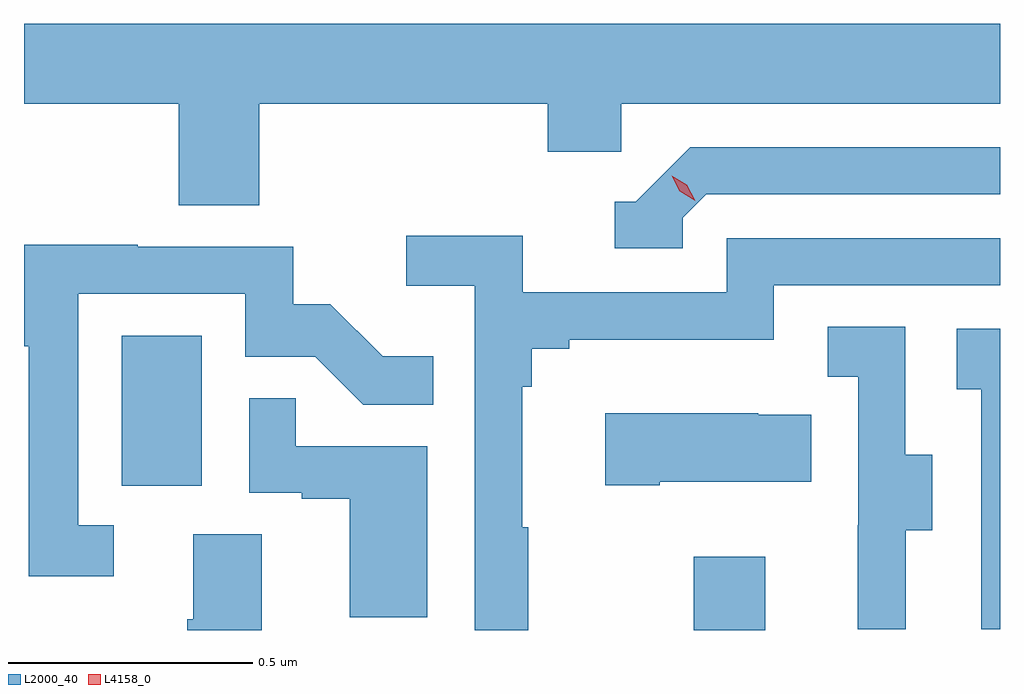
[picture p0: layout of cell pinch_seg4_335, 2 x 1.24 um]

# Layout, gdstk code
import gdstk
lib = gdstk.Library(unit=1e-6, precision=1e-09)
def R(c, l, rs):  # rectangles x0, y0, x1, y1
    for r in rs: c.add(gdstk.rectangle(r[:2], r[2:], *l))
def P(c, l, *ps):  # polygons
    for p in ps: c.add(gdstk.Polygon(p, *l))
L2000_40 = (2000, 40)
L4158_0 = (4158, 0)

pinch_seg4_335 = lib.new_cell('pinch_seg4_335')
R(pinch_seg4_335, L2000_40, [(987.448,806.398,987.595,806.548), (986.276,806.694,986.44,807.001)])
P(pinch_seg4_335, L2000_40, [(986.558,807.476),(987.149,807.476),(987.149,807.378),(987.3,807.378),(987.3,807.476),(988.076,807.476),(988.076,807.64),(986.076,807.64),(986.076,807.476),(986.393,807.476),(986.393,807.268),(986.558,807.268)],
  [(987.426,807.243),(987.474,807.291),(988.076,807.291),(988.076,807.387),(987.441,807.387),(987.33,807.276),(987.287,807.276),(987.287,807.18),(987.426,807.18)],
  [(987.109,806.609),(987.097,806.609),(987.097,806.897),(987.116,806.897),(987.116,806.974),(987.193,806.974),(987.193,806.993),(987.612,806.993),(987.612,807.105),(988.076,807.105),(988.076,807.201),(987.516,807.201),(987.516,807.09),(987.098,807.09),(987.098,807.206),(986.859,807.206),(986.859,807.104),(987,807.104),(987,806.398),(987.109,806.398)],
  [(986.26,806.613),(986.187,806.613),(986.187,807.087),(986.529,807.087),(986.529,806.958),(986.673,806.958),(986.771,806.86),(986.915,806.86),(986.915,806.959),(986.811,806.959),(986.704,807.066),(986.628,807.066),(986.628,807.183),(986.309,807.183),(986.309,807.188),(986.076,807.188),(986.076,806.98),(986.086,806.98),(986.086,806.508),(986.26,806.508)],
  [(987.883,806.602),(987.937,806.602),(987.937,806.757),(987.882,806.757),(987.882,807.02),(987.723,807.02),(987.723,806.917),(987.786,806.917),(987.786,806.613),(987.785,806.613),(987.785,806.4),(987.883,806.4)],
  [(988.076,807.015),(987.987,807.015),(987.987,806.891),(988.038,806.891),(988.038,806.4),(988.076,806.4)],
  [(986.902,806.775),(986.633,806.775),(986.633,806.873),(986.538,806.873),(986.538,806.679),(986.645,806.679),(986.645,806.667),(986.744,806.667),(986.744,806.424),(986.902,806.424)],
  [(987.379,806.702),(987.689,806.702),(987.689,806.839),(987.581,806.839),(987.581,806.842),(987.267,806.842),(987.267,806.695),(987.379,806.695)],
  [(986.563,806.594),(986.423,806.594),(986.423,806.42),(986.411,806.42),(986.411,806.398),(986.563,806.398)])
P(pinch_seg4_335, L4158_0, [(987.451,807.278),(987.42,807.297),(987.403,807.329),(987.403,807.329),(987.403,807.329),(987.434,807.31),(987.451,807.278),(987.451,807.278)])

lib.write_gds('pinch_seg4_335.gds')
